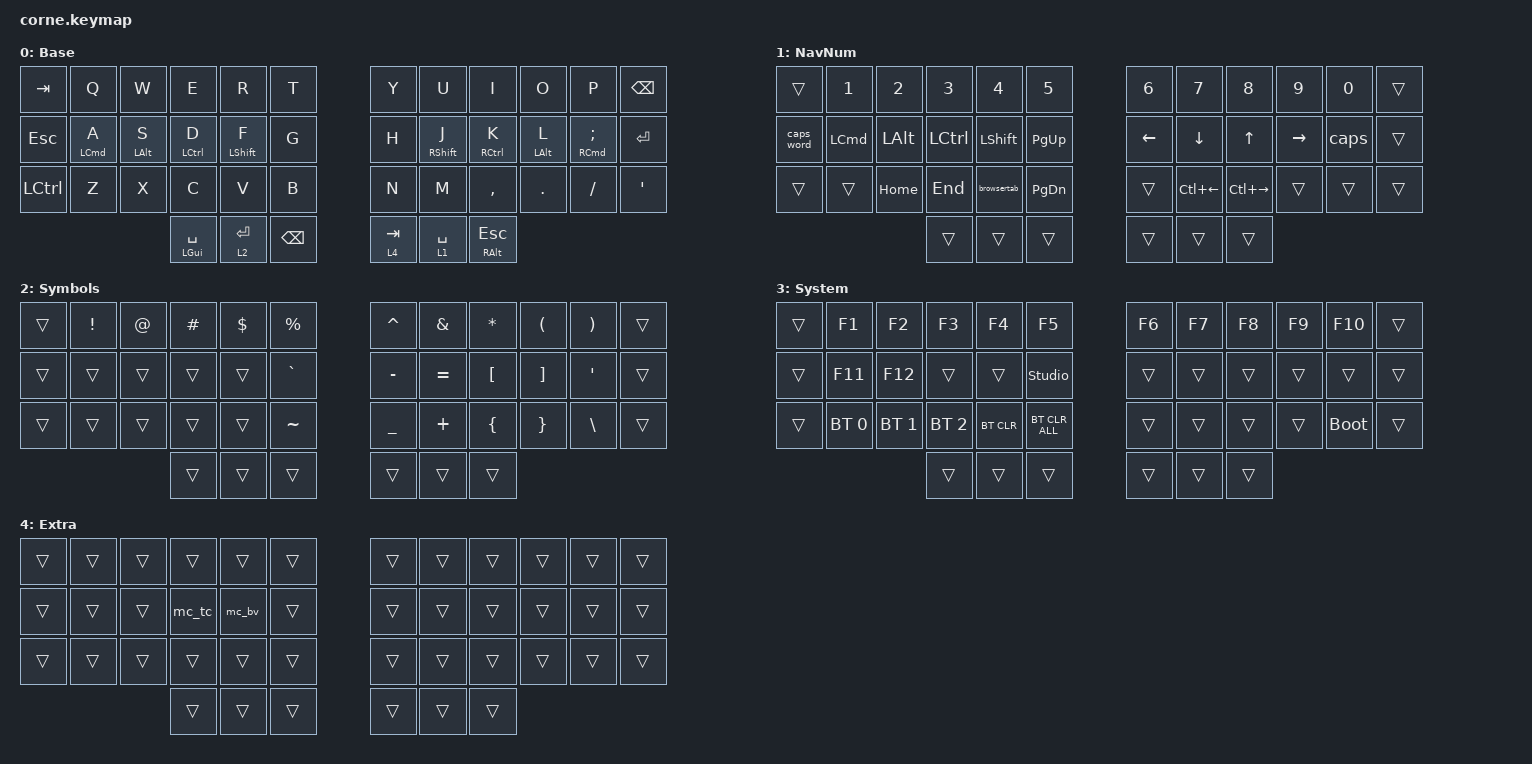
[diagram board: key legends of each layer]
#include <behaviors.dtsi>
#include <dt-bindings/zmk/bt.h>
#include <dt-bindings/zmk/keys.h>

#define DEF 0
#define NAV 1
#define SYM 2
#define ADJ 3
#define EXTRA 4

/ {
    behaviors {
        hm: homerow_mods {
            compatible = "zmk,behavior-hold-tap";
            #binding-cells = <2>;
            tapping-term-ms = <200>;
            flavor = "tap-preferred";
            bindings = <&kp>, <&kp>;

            quick-tap-ms = <180>;
            require-prior-idle-ms = <120>; /* tune to taste */
        };

        para: para {
            compatible = "zmk,behavior-tap-dance";
            #binding-cells = <0>;
            bindings = <&kp LEFT_PARENTHESIS>, <&kp RIGHT_PARENTHESIS>;
        };

        caps: caps {
            compatible = "zmk,behavior-caps-word";
            #binding-cells = <0>;
            continue-list = <MINUS BACKSPACE>;
        };

        paraless: paraless {
            compatible = "zmk,behavior-mod-morph";
            bindings = <&kp LEFT_PARENTHESIS>, <&kp LESS_THAN>;

            #binding-cells = <0>;
            mods = <(MOD_LSFT)>;
        };

        paragreat: paragreat {
            compatible = "zmk,behavior-mod-morph";
            bindings = <&kp RIGHT_PARENTHESIS>, <&kp GREATER_THAN>;

            #binding-cells = <0>;
            mods = <(MOD_LSFT)>;
        };
    };

    macros {
        browsertab: browsertab {
            compatible = "zmk,behavior-macro";
            #binding-cells = <0>;
            bindings =
                <&macro_press>,
                <&kp LCTRL>,
                <&macro_tap>,
                <&kp TAB>,
                <&macro_release>,
                <&kp LCTRL>;
        };

        mc_tc: mc_tc {
            compatible = "zmk,behavior-macro";
            #binding-cells = <0>;
            bindings = <&kp LS(T) &kp C &kp S &kp DLLR &kp N2 &kp N6 &kp N0 &kp N5 &kp DLLR &kp D &kp O &kp M &kp DLLR &kp S &kp S>;
            label = "MC_TC";
        };

        mc_bv: mc_cnv {
            compatible = "zmk,behavior-macro";
            #binding-cells = <0>;
            bindings = <&kp LS(J) &kp O &kp H &kp N &kp W &kp I &kp C &kp K &kp N0 &kp N1>;
            label = "MC_CNV";
        };
    };

    combos {
        compatible = "zmk,combos";

        raycast {
            bindings = <&kp LG(SPACE)>;
            key-positions = <15 16>;
        };

        delete {
            bindings = <&kp DELETE>;
            key-positions = <15 21>;
        };

        perc {
            bindings = <&kp PERCENT>;
            key-positions = <5 17>;
            layers = <0>;
        };

        equal {
            bindings = <&kp EQUAL>;
            key-positions = <19 20>;
            layers = <0>;
        };

        dollar {
            bindings = <&kp DOLLAR>;
            key-positions = <4 16>;
            layers = <0>;
        };

        pound {
            bindings = <&kp POUND>;
            key-positions = <3 15>;
            layers = <0>;
        };

        at {
            bindings = <&kp AT>;
            key-positions = <2 14>;
            layers = <0>;
        };

        backslash {
            bindings = <&kp BACKSLASH>;
            key-positions = <26 14>;
            layers = <0>;
        };

        star {
            bindings = <&kp STAR>;
            key-positions = <8 20>;
            layers = <0>;
        };

        slash {
            bindings = <&kp SLASH>;
            key-positions = <32 20>;
            layers = <0>;
        };

        minus {
            bindings = <&kp MINUS>;
            key-positions = <20 21>;
            layers = <0>;
        };

        leftbrack {
            bindings = <&kp LEFT_BRACKET>;
            key-positions = <31 32>;
            layers = <0>;
        };

        rightbrack {
            bindings = <&kp RIGHT_BRACKET>;
            key-positions = <33 32>;
            layers = <0>;
        };

        para-less {
            bindings = <&paraless>;
            key-positions = <7 8>;
            layers = <0>;
        };

        para-great {
            bindings = <&paragreat>;
            key-positions = <8 9>;
            layers = <0>;
        };

        copyw {
            bindings = <&kp LC(C)>;
            key-positions = <26 27>;
            layers = <0>;
        };

        pastew {
            bindings = <&kp LC(V)>;
            key-positions = <27 28>;
            layers = <0>;
        };

        copym {
            bindings = <&kp LG(C)>;
            key-positions = <26 27>;
            layers = <2>;
        };

        pastem {
            bindings = <&kp LG(V)>;
            key-positions = <27 28>;
            layers = <2>;
        };
    };

    //

    keymap {
        compatible = "zmk,keymap";

        DEF {
            display-name = "Base";

            // -----------------------------------------------------------------------------------------
            // |  Q  |  W  |  E  |  R  |  T  |   |  Y  |  U   |  I  |  O  |  P  |
            // |  A  |  S  |  D  |  F  |  G  |   |  H  |  J   |  K  |  L  |  ;  |
            // |  Z  |  X  |  C  |  V  |  B  |   |  N  |  M   |  ,  |  .  |  /  |
            // | GUI | CTRL | SHFT | LWR | SPC |   | ENT | RSE  | BKSP | ALT | ESC |

            bindings = <
&kp TAB    &kp Q               &kp W           &kp E               &kp R             &kp T            &kp Y      &kp U              &kp I                &kp O           &kp P                   &kp BACKSPACE
&kp ESC    &hm LEFT_COMMAND A  &hm LEFT_ALT S  &hm LEFT_CONTROL D  &hm LEFT_SHIFT F  &kp G            &kp H      &hm RIGHT_SHIFT J  &hm RIGHT_CONTROL K  &hm LEFT_ALT L  &hm RIGHT_COMMAND SEMI  &kp ENTER
&kp LCTRL  &kp Z               &kp X           &kp C               &kp V             &kp B            &kp N      &kp M              &kp COMMA            &kp DOT         &kp FSLH                &kp SQT
                                               &hm LGUI SPACE      &lt 2 ENTER       &kp BACKSPACE    &lt 4 TAB  &lt 1 SPACE        &hm RIGHT_ALT ESC
            >;
        };

        NAV {
            display-name = "NavNum";

            // -----------------------------------------------------------------------------------------
            // |  TAB |  1  |  2  |  3  |  4  |  5  |   |  6  |  7  |  8  |  9  |  0  | BKSP |
            // | BTCLR| BT1 | BT2 | BT3 | BT4 | BT5 |   | LFT | DWN |  UP | RGT |     |      |
            // | SHFT |     |     |     |     |     |   |     |     |     |     |     |      |
            // | GUI | CTRL | SHFT | LWR | SPC |   | ENT | RSE  | BKSP | ALT | ESC |

            bindings = <
&trans      &kp N1            &kp N2        &kp N3            &kp N4          &kp N5           &kp N6    &kp N7              &kp N8         &kp N9           &kp N0  &trans
&caps_word  &kp LEFT_COMMAND  &kp LEFT_ALT  &kp LEFT_CONTROL  &kp LEFT_SHIFT  &kp PAGE_UP      &kp LEFT  &kp DOWN            &kp UP_ARROW   &kp RIGHT_ARROW  &caps   &trans
&trans      &trans            &kp HOME      &kp END           &browsertab     &kp PAGE_DOWN    &trans    &kp LC(LEFT_ARROW)  &kp LC(RIGHT)  &trans           &trans  &trans
                                            &trans            &trans          &trans           &trans    &trans              &trans
            >;
        };

        SYM {
            display-name = "Symbols";

            // -----------------------------------------------------------------------------------------
            // |  TAB |  !  |  @  |  #  |  $  |  %  |   |  ^  |  &  |  *  |  (  |  )  | BKSP |
            // | CTRL |     |     |     |     |     |   |  -  |  =  |  [  |  ]  |  \  |  `   |
            // | SHFT |     |     |     |     |     |   |  _  |  +  |  {  |  }  | "|" |  ~   |
            //                    | GUI |     | SPC |   | ENT |     | ALT |

            bindings = <
&trans  &kp EXCL  &kp AT  &kp HASH  &kp DLLR  &kp PRCNT    &kp CARET  &kp AMPS   &kp ASTRK  &kp LEFT_PARENTHESIS  &kp RPAR  &trans
&trans  &trans    &trans  &trans    &trans    &kp GRAVE    &kp MINUS  &kp EQUAL  &kp LBKT   &kp RBKT              &kp SQT   &trans
&trans  &trans    &trans  &trans    &trans    &kp TILDE    &kp UNDER  &kp PLUS   &kp LBRC   &kp RBRC              &kp BSLH  &trans
                          &trans    &trans    &trans       &trans     &trans     &trans
            >;
        };

        ADJ {
            display-name = "System";
            bindings = <
&trans  &kp F1        &kp F2        &kp F3        &kp F4      &kp F5            &kp F6  &kp F7  &kp F8  &kp F9  &kp F10      &trans
&trans  &kp F11       &kp F12       &trans        &trans      &studio_unlock    &trans  &trans  &trans  &trans  &trans       &trans
&trans  &bt BT_SEL 0  &bt BT_SEL 1  &bt BT_SEL 2  &bt BT_CLR  &bt BT_CLR_ALL    &trans  &trans  &trans  &trans  &bootloader  &trans
                                    &trans        &trans      &trans            &trans  &trans  &trans
            >;
        };

        EXTRA {
            display-name = "Extra";
            bindings = <
&trans  &trans  &trans  &trans  &trans  &trans    &trans  &trans  &trans  &trans  &trans  &trans
&trans  &trans  &trans  &mc_tc  &mc_bv  &trans    &trans  &trans  &trans  &trans  &trans  &trans
&trans  &trans  &trans  &trans  &trans  &trans    &trans  &trans  &trans  &trans  &trans  &trans
                        &trans  &trans  &trans    &trans  &trans  &trans
            >;
        };
    };

    conditional_layers {
        compatible = "zmk,conditional-layers";

        l3 {
            if-layers = <1 2>;
            then-layer = <3>;
        };
    };
};
